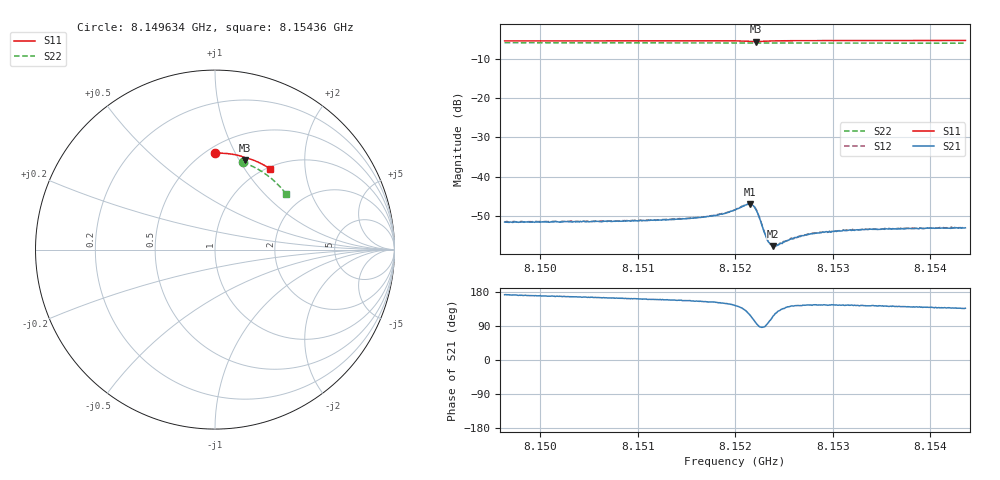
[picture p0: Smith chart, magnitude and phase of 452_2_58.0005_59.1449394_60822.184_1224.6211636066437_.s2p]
#  HZ  S  RI  R  50.00
! Rohde & Schwarz Vector Network Analyzer
! Rohde-Schwarz,ZNB20-2Port,1311601062101988,3.16
! Created: UTC 3/21/2024, 1:10:36 AM
! freq[Hz]  re:S11  im:S11  re:S21  im:S21  re:S12  im:S12  re:S22  im:S22
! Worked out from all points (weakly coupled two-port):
!   401 points, 8.149634 GHz to 8.15436 GHz, reference 50 ohm
!   highest |S21| = -46.96 dB at 8.15215 GHz (marker M1); lowest = -57.7 dB at 8.152387 GHz (marker M2)
!   lowest |S11| = -5.6 dB at 8.15221 GHz (marker M3), VSWR 3.23, Z = 38.5 + j53.1 ohm
!   |S11| at or under -10 dB: nowhere
!   |S22| runs from -6.0 to -5.8 dB; largest |S21 - S12| = 0.00014
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8.1496335e9  -0.00123 0.5378  -0.00261 0.000354  -0.00265 0.000393  0.155 0.4858
8.1504252e9  0.054 0.5363  -0.00257 0.00066  -0.00261 0.000687  0.2023 0.4669
8.151217e9  0.1089 0.5291  -0.00261 0.001  -0.00262 0.001  0.2473 0.4434
8.1517014e9  0.143 0.5214  -0.00275 0.00136  -0.00276 0.00139  0.2734 0.4269
8.1518787e9  0.156 0.5172  -0.00291 0.00168  -0.00292 0.00172  0.2827 0.4203
8.1519969e9  0.165 0.513  -0.00306 0.00222  -0.00303 0.00228  0.2889 0.4159
8.152115e9  0.1725 0.5045  -0.00271 0.00343  -0.00272 0.00349  0.2946 0.4111
8.1521505e9  0.1727 0.5011  -0.00214 0.00394  -0.00209 0.00397  0.2963 0.4098
8.1521859e9  0.1708 0.4987  -0.00121 0.00407  -0.00118 0.0041  0.2981 0.4084
8.1522096e9  0.169 0.4989  -0.000528 0.0038  -0.000533 0.00387  0.299 0.4074
8.152245e9  0.1676 0.5013  7.94e-05 0.00301  0.000131 0.0031  0.3007 0.4064
8.1523041e9  0.1706 0.5058  5.83e-05 0.00186  6.3e-05 0.00186  0.3037 0.4042
8.1523277e9  0.1726 0.5068  -0.000138 0.00155  -0.000119 0.00156  0.3049 0.4036
8.1523514e9  0.1748 0.5073  -0.000325 0.00138  -0.000275 0.00137  0.3061 0.4025
8.1523868e9  0.178 0.5078  -0.000567 0.00118  -0.00053 0.00118  0.3079 0.4011
8.1524341e9  0.1823 0.5075  -0.000825 0.00106  -0.000789 0.00109  0.3102 0.3993
8.1525522e9  0.1918 0.5056  -0.0012 0.000991  -0.0012 0.00103  0.3161 0.3945
8.1526231e9  0.1972 0.5043  -0.00134 0.000993  -0.00137 0.00102  0.3196 0.3916
8.1527886e9  0.2087 0.5004  -0.00152 0.00109  -0.00155 0.0011  0.3275 0.3848
8.1531549e9  0.2331 0.4905  -0.00169 0.00117  -0.00165 0.00123  0.3445 0.3687
8.1535803e9  0.26 0.4775  -0.00169 0.00134  -0.00171 0.00135  0.3629 0.3495
8.1543602e9  0.3067 0.4505  -0.00161 0.00153  -0.00161 0.00156  0.3941 0.3116
